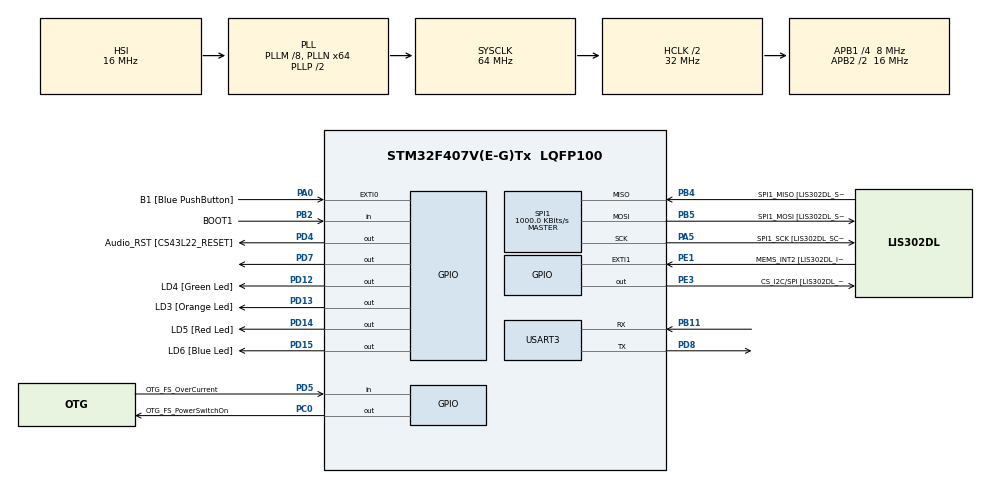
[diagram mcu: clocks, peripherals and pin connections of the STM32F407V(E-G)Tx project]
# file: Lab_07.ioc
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Mcu.Family=STM32F4
Mcu.Name=STM32F407V(E-G)Tx
Mcu.Package=LQFP100
NVIC.PriorityGroup=NVIC_PRIORITYGROUP_0
PA0-WKUP.GPIO_Label=B1 [Blue PushButton]
PA0-WKUP.Signal=GPXTI0
PA10.GPIO_Label=OTG_FS_ID
PA10.GPIO_Mode=GPIO_MODE_AF_PP
PA10.GPIO_PuPd=GPIO_NOPULL
PA10.GPIO_Speed=GPIO_SPEED_FREQ_LOW
PA10.Signal=USB_OTG_FS_ID
PA11.GPIO_Label=OTG_FS_DM
PA11.GPIO_Mode=GPIO_MODE_AF_PP
PA11.GPIO_PuPd=GPIO_NOPULL
PA11.GPIO_Speed=GPIO_SPEED_FREQ_LOW
PA11.Signal=USB_OTG_FS_DM
PA12.GPIO_Label=OTG_FS_DP
PA12.GPIO_Mode=GPIO_MODE_AF_PP
PA12.GPIO_PuPd=GPIO_NOPULL
PA12.GPIO_Speed=GPIO_SPEED_FREQ_LOW
PA12.Signal=USB_OTG_FS_DP
PA13.GPIO_Label=SWDIO
PA13.Signal=SYS_JTMS-SWDIO
PA14.GPIO_Label=SWCLK
PA14.Signal=SYS_JTCK-SWCLK
PA4.GPIO_Label=I2S3_WS [CS43L22_LRCK]
PA4.GPIO_Mode=GPIO_MODE_AF_PP
PA4.GPIO_PuPd=GPIO_NOPULL
PA4.GPIO_Speed=GPIO_SPEED_FREQ_LOW
PA4.Signal=I2S3_WS
PA5.GPIO_Label=SPI1_SCK [LIS302DL_SCL/SPC]
PA5.GPIO_Mode=GPIO_MODE_AF_PP
PA5.GPIO_PuPd=GPIO_NOPULL
PA5.GPIO_Speed=GPIO_SPEED_FREQ_LOW
PA5.Mode=Full_Duplex_Master
PA5.Signal=SPI1_SCK
PA9.GPIO_Label=VBUS_FS
PA9.GPIO_Mode=GPIO_MODE_INPUT
PA9.GPIO_PuPd=GPIO_NOPULL
PA9.Signal=USB_OTG_FS_VBUS
PB10.GPIO_Label=CLK_IN [MP45DT02_CLK]
PB10.GPIO_Mode=GPIO_MODE_AF_PP
PB10.GPIO_PuPd=GPIO_NOPULL
PB10.GPIO_Speed=GPIO_SPEED_FREQ_LOW
PB10.Signal=I2S2_CK
PB11.Mode=Asynchronous
PB11.Signal=USART3_RX
PB2.GPIO_Label=BOOT1
PB2.GPIO_Mode=GPIO_MODE_INPUT
PB2.GPIO_PuPd=GPIO_NOPULL
PB2.Signal=GPIO_Input
PB3.GPIO_Label=SWO
PB3.Signal=SYS_JTDO-SWO
PB4.GPIO_Label=SPI1_MISO [LIS302DL_SDO]
PB4.GPIO_Mode=GPIO_MODE_AF_PP
PB4.GPIO_PuPd=GPIO_NOPULL
PB4.GPIO_Speed=GPIO_SPEED_FREQ_LOW
PB4.Mode=Full_Duplex_Master
PB4.Signal=SPI1_MISO
PB5.GPIO_Label=SPI1_MOSI [LIS302DL_SDA/SDI/SDO]
PB5.GPIO_Mode=GPIO_MODE_AF_PP
PB5.GPIO_PuPd=GPIO_NOPULL
PB5.GPIO_Speed=GPIO_SPEED_FREQ_LOW
PB5.Mode=Full_Duplex_Master
PB5.Signal=SPI1_MOSI
PB6.GPIO_Label=Audio_SCL [CS43L22_SCL]
PB6.GPIO_Mode=GPIO_MODE_AF_OD
PB6.GPIO_PuPd=GPIO_NOPULL
PB6.GPIO_Speed=GPIO_SPEED_FREQ_LOW
PB6.Signal=I2C1_SCL
PB9.GPIO_Label=Audio_SDA [CS43L22_SDA]
PB9.GPIO_Mode=GPIO_MODE_AF_OD
PB9.GPIO_PuPd=GPIO_NOPULL
PB9.GPIO_Speed=GPIO_SPEED_FREQ_LOW
PB9.Signal=I2C1_SDA
PC0.GPIO_Label=OTG_FS_PowerSwitchOn
PC0.GPIO_PuPd=GPIO_NOPULL
PC0.GPIO_Speed=GPIO_SPEED_FREQ_LOW
PC0.PinState=GPIO_PIN_SET
PC0.Signal=GPIO_Output
PC10.GPIO_Label=I2S3_SCK [CS43L22_SCLK]
PC10.GPIO_Mode=GPIO_MODE_AF_PP
PC10.GPIO_PuPd=GPIO_NOPULL
PC10.GPIO_Speed=GPIO_SPEED_FREQ_LOW
PC10.Signal=I2S3_CK
PC12.GPIO_Label=I2S3_SD [CS43L22_SDIN]
PC12.GPIO_Mode=GPIO_MODE_AF_PP
PC12.GPIO_PuPd=GPIO_NOPULL
PC12.GPIO_Speed=GPIO_SPEED_FREQ_LOW
PC12.Signal=I2S3_SD
PC14-OSC32_IN.GPIO_Label=PC14-OSC32_IN
PC14-OSC32_IN.Signal=RCC_OSC32_IN
PC15-OSC32_OUT.GPIO_Label=PC15-OSC32_OUT
PC15-OSC32_OUT.Signal=RCC_OSC32_OUT
PC3.GPIO_Label=PDM_OUT [MP45DT02_DOUT]
PC3.GPIO_Mode=GPIO_MODE_AF_PP
PC3.GPIO_PuPd=GPIO_NOPULL
PC3.GPIO_Speed=GPIO_SPEED_FREQ_LOW
PC3.Signal=I2S2_SD
PC7.GPIO_Label=I2S3_MCK [CS43L22_MCLK]
PC7.GPIO_Mode=GPIO_MODE_AF_PP
PC7.GPIO_PuPd=GPIO_NOPULL
PC7.GPIO_Speed=GPIO_SPEED_FREQ_LOW
PC7.Signal=I2S3_MCK
PD12.GPIO_Label=LD4 [Green Led]
PD12.GPIO_PuPd=GPIO_NOPULL
PD12.GPIO_Speed=GPIO_SPEED_FREQ_LOW
PD12.Signal=GPIO_Output
PD13.GPIO_Label=LD3 [Orange Led]
PD13.GPIO_PuPd=GPIO_NOPULL
PD13.GPIO_Speed=GPIO_SPEED_FREQ_LOW
PD13.Signal=GPIO_Output
PD14.GPIO_Label=LD5 [Red Led]
PD14.GPIO_PuPd=GPIO_NOPULL
PD14.GPIO_Speed=GPIO_SPEED_FREQ_LOW
PD14.Signal=GPIO_Output
PD15.GPIO_Label=LD6 [Blue Led]
PD15.GPIO_PuPd=GPIO_NOPULL
PD15.GPIO_Speed=GPIO_SPEED_FREQ_LOW
PD15.Signal=GPIO_Output
PD4.GPIO_Label=Audio_RST [CS43L22_RESET]
PD4.GPIO_PuPd=GPIO_NOPULL
PD4.GPIO_Speed=GPIO_SPEED_FREQ_LOW
PD4.Signal=GPIO_Output
PD5.GPIO_Label=OTG_FS_OverCurrent
PD5.GPIO_Mode=GPIO_MODE_INPUT
PD5.GPIO_PuPd=GPIO_NOPULL
PD5.Signal=GPIO_Input
PD7.Signal=GPIO_Output
PD8.Mode=Asynchronous
PD8.Signal=USART3_TX
PE1.GPIO_Label=MEMS_INT2 [LIS302DL_INT2]
PE1.GPIO_ModeDefaultEXTI=GPIO_MODE_EVT_RISING
PE1.GPIO_PuPd=GPIO_NOPULL
PE1.Signal=GPXTI1
PE3.GPIO_Label=CS_I2C/SPI [LIS302DL_CS_I2C/SPI]
PE3.GPIO_PuPd=GPIO_NOPULL
PE3.GPIO_Speed=GPIO_SPEED_FREQ_LOW
PE3.Signal=GPIO_Output
PH0-OSC_IN.GPIO_Label=PH0-OSC_IN
PH0-OSC_IN.Signal=RCC_OSC_IN
PH1-OSC_OUT.GPIO_Label=PH1-OSC_OUT
PH1-OSC_OUT.Signal=RCC_OSC_OUT
ProjectManager.HeapSize=0x200
ProjectManager.StackSize=0x400
ProjectManager.TargetToolchain=STM32CubeIDE
RCC.48MHZClocksFreq_Value=18285714.285714287
RCC.AHBCLKDivider=RCC_SYSCLK_DIV2
RCC.AHBFreq_Value=32000000
RCC.APB1CLKDivider=RCC_HCLK_DIV4
RCC.APB1Freq_Value=8000000
RCC.APB1TimFreq_Value=16000000
RCC.APB2CLKDivider=RCC_HCLK_DIV2
RCC.APB2Freq_Value=16000000
RCC.APB2TimFreq_Value=32000000
RCC.CortexFreq_Value=32000000
RCC.HCLKFreq_Value=32000000
RCC.HSE_VALUE=8000000
RCC.HSI_VALUE=16000000
RCC.LSE_VALUE=32768
RCC.PLLM=8
RCC.PLLN=64
RCC.PLLQ=7
RCC.SYSCLKFreq_VALUE=64000000
RCC.SYSCLKSource=RCC_SYSCLKSOURCE_PLLCLK
RCC.VCOOutputFreq_Value=128000000
SPI1.BaudRatePrescaler=SPI_BAUDRATEPRESCALER_16
SPI1.CalculateBaudRate=1000.0 KBits/s
SPI1.Direction=SPI_DIRECTION_2LINES
SPI1.Mode=SPI_MODE_MASTER
SPI1.VirtualType=VM_MASTER
USART3.VirtualMode=VM_ASYNC
board=STM32F407G-DISC1

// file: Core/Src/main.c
/* USER CODE BEGIN Header */
/**
  ******************************************************************************
  * @file           : main.c
  * @brief          : Main program body
  ******************************************************************************
  * @attention
  *
  * <h2><center>&copy; Copyright (c) 2021 STMicroelectronics.
  * All rights reserved.</center></h2>
  *
  * This software component is licensed by ST under BSD 3-Clause license,
  * the "License"; You may not use this file except in compliance with the
  * License. You may obtain a copy of the License at:
  *                        opensource.org/licenses/BSD-3-Clause
  *
  ******************************************************************************
  */
/* USER CODE END Header */
#include "main.h"
#include "spi.h"
#include "usart.h"
#include "gpio.h"

/* USER CODE BEGIN Includes */
#include <stdbool.h>
#include "SST25VF016B.h"
/* USER CODE END Includes */

/* USER CODE BEGIN PD */
#define LINES_COUNT 		20
#define MAX_CHAR_IN_LINE 	65
#define SECTOR_BYTES		4096

#define WRITE				1
/* USER CODE END PD */

/* USER CODE BEGIN PV */
char text[LINES_COUNT][MAX_CHAR_IN_LINE] = 	{	"=========================================\n",
												"From: Olha Tepla, helgaminchenko@gmail.com\n",
												"Mentor: Oleksandr Mordyk, oleksandr.mordyk@globallogic.com\n",
												"Date: 30.11.2021\n",
												"==========================================\n",
												"TIME CAPSULE\n",
												"==========================================\n",
												"Oh, you may not think I'm pretty,\n",
												"But don't judge on what you see,\n",
												"I'll eat myself if you can find\n",
												"A smarter hat than me.\n",
												"You can keep your bowlers black,\n",
												"Your top hats sleek and tall,\n",
												"For I'm the Hogwarts Sorting Hat\n",
												"And I can cap them all.\n",
												"There's nothing hidden in your head\n",
												"The Sorting Hat can't see,\n",
												"So try me on and I will tell you\n",
												"Where you ought to be.\n",
												"==========================================\n"};

/* USER CODE END PV */

void SystemClock_Config(void);
/* USER CODE BEGIN PFP */
void Write_Time_Capsule(void);
void Read_Time_Capsule(void);
void Print(char buf[], uint32_t len);
/* USER CODE END PFP */

int main(void)
{

  /* MCU Configuration--------------------------------------------------------*/

  /* Reset of all peripherals, Initializes the Flash interface and the Systick. */
  HAL_Init();

  /* Configure the system clock */
  SystemClock_Config();

  /* Initialize all configured peripherals */
  MX_GPIO_Init();
  MX_SPI1_Init();
  MX_USART3_UART_Init();
  /* USER CODE BEGIN 2 */
  HAL_GPIO_WritePin(GPIOD, GPIO_PIN_7, GPIO_PIN_SET);
  HAL_Delay(100);

  if (WRITE)
  {
	  Write_Time_Capsule();
  }

  Read_Time_Capsule();

  /* USER CODE END 2 */

  /* Infinite loop */
  while (1)
  {

  }
}

void SystemClock_Config(void)
{
  RCC_OscInitTypeDef RCC_OscInitStruct = {0};
  RCC_ClkInitTypeDef RCC_ClkInitStruct = {0};

  /** Configure the main internal regulator output voltage
  */
  __HAL_RCC_PWR_CLK_ENABLE();
  __HAL_PWR_VOLTAGESCALING_CONFIG(PWR_REGULATOR_VOLTAGE_SCALE1);
  /** Initializes the RCC Oscillators according to the specified parameters
  * in the RCC_OscInitTypeDef structure.
  */
  RCC_OscInitStruct.OscillatorType = RCC_OSCILLATORTYPE_HSI;
  RCC_OscInitStruct.HSIState = RCC_HSI_ON;
  RCC_OscInitStruct.HSICalibrationValue = RCC_HSICALIBRATION_DEFAULT;
  RCC_OscInitStruct.PLL.PLLState = RCC_PLL_ON;
  RCC_OscInitStruct.PLL.PLLSource = RCC_PLLSOURCE_HSI;
  RCC_OscInitStruct.PLL.PLLM = 8;
  RCC_OscInitStruct.PLL.PLLN = 64;
  RCC_OscInitStruct.PLL.PLLP = RCC_PLLP_DIV2;
  RCC_OscInitStruct.PLL.PLLQ = 7;
  if (HAL_RCC_OscConfig(&RCC_OscInitStruct) != HAL_OK)
  {
    Error_Handler();
  }
  /** Initializes the CPU, AHB and APB buses clocks
  */
  RCC_ClkInitStruct.ClockType = RCC_CLOCKTYPE_HCLK|RCC_CLOCKTYPE_SYSCLK
                              |RCC_CLOCKTYPE_PCLK1|RCC_CLOCKTYPE_PCLK2;
  RCC_ClkInitStruct.SYSCLKSource = RCC_SYSCLKSOURCE_PLLCLK;
  RCC_ClkInitStruct.AHBCLKDivider = RCC_SYSCLK_DIV2;
  RCC_ClkInitStruct.APB1CLKDivider = RCC_HCLK_DIV4;
  RCC_ClkInitStruct.APB2CLKDivider = RCC_HCLK_DIV2;

  if (HAL_RCC_ClockConfig(&RCC_ClkInitStruct, FLASH_LATENCY_1) != HAL_OK)
  {
    Error_Handler();
  }
}

/* USER CODE BEGIN 4 */
void Write_Time_Capsule(void)
{
	uint32_t address = 0x00;

	Print("Start to erase\r\n", sizeof("Start to erase\r\n"));
	for (int sector = 0; sector < LINES_COUNT; sector++, address += SECTOR_BYTES)
	{
		Memory_Driver_Erase_Sector(address);
	}
	Print("Erasing complete\r\n", sizeof("Erasing complete\r\n"));

	address = 0x00;

	Print("Start to write\r\n", sizeof("Start to write\r\n"));
	for (int line = 0; line < LINES_COUNT; line++, address += SECTOR_BYTES)
	{
		Memory_Driver_Write(text[line], address, MAX_CHAR_IN_LINE);
	}
	Print("Writing complete\r\n", sizeof("Writing complete\r\n"));
}

void Read_Time_Capsule(void)
{
	char buf[MAX_CHAR_IN_LINE];

	uint32_t address = 0;
	Print("Start to read\r\n", sizeof("Start to read\r\n"));
	for (int line = 0; line < LINES_COUNT; line++, address += SECTOR_BYTES)
	{
		Memory_Driver_Read(buf, address, MAX_CHAR_IN_LINE);
		HAL_Delay(100);
		Print(buf, MAX_CHAR_IN_LINE);
	}
	Print("Reading complete\r\n", sizeof("Reading complete\r\n"));
}

void Print(char buf[], uint32_t len)
{
	for (int i = 0; i < len; i++){
		if (buf[i] == '\n' || buf[i] == '\0')
		{
			break;
		}
		HAL_UART_Transmit(&huart3, &buf[i], 1, 100);
	}
	HAL_UART_Transmit(&huart3, "\r\n", 2, 100);
}
/* USER CODE END 4 */

void Error_Handler(void)
{
  __disable_irq();
  while (1)
  {
  }
}

/************************ (C) COPYRIGHT STMicroelectronics *****END OF FILE****/
